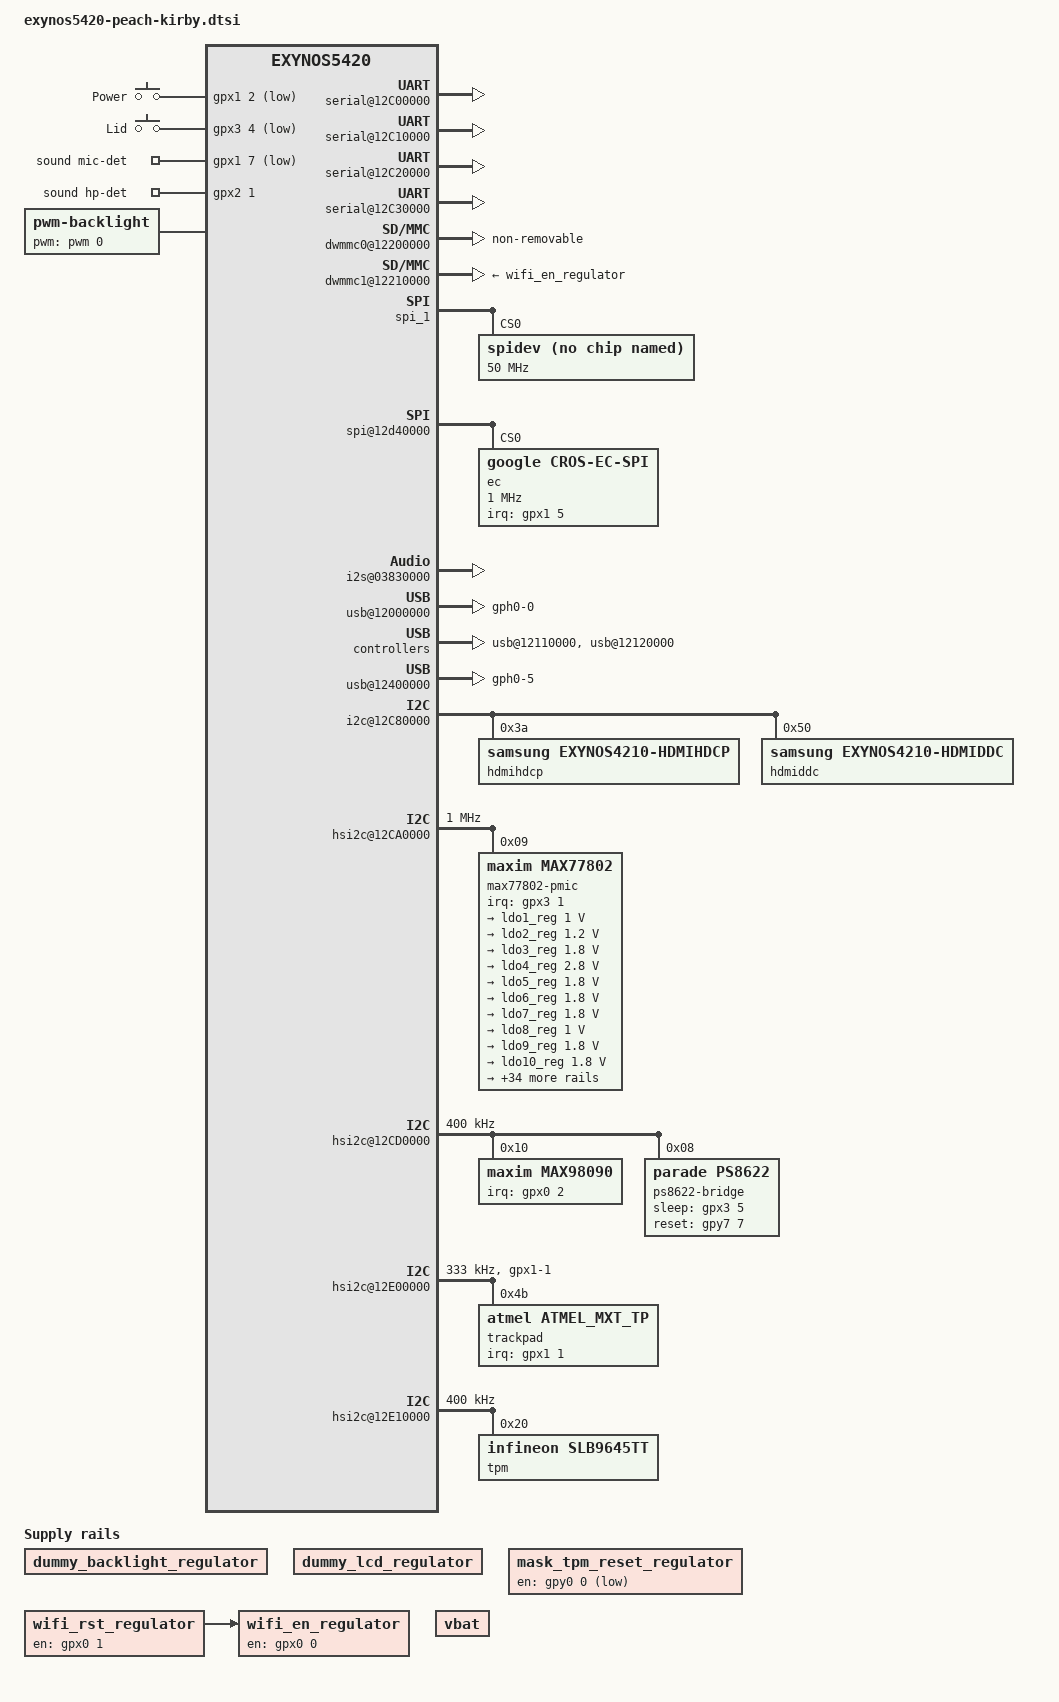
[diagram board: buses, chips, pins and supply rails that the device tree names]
/*
 * Common device tree include for all Peach Pit board revisions
 *
 * Copyright (c) 2013 Google, Inc
 *
 * This program is free software; you can redistribute it and/or modify
 * it under the terms of the GNU General Public License version 2 as
 * published by the Free Software Foundation.
 */

/ {
	aliases {
		i2c20 = &i2c_20;
	};

	chosen {
		bootargs = "";
	};

	firmware {
		chromeos {
			write-protect-gpio = <&gpx3 0 1>;

			pinctrl-names = "default";
			pinctrl-0 = <&wp_gpio>;

			nonvolatile-context-storage = "mkbp";
			chromeos-vbc-ec = <&ec>;
		};
	};

	fixed-rate-clocks {
		xxti {
			compatible = "samsung,clock-xxti";
			clock-frequency = <24000000>;
		};
	};

	pinctrl@13400000 {
		dp_hpd: dp-hpd {
			samsung,pins = "gpx2-6";
			samsung,pin-function = <0>;
			samsung,pin-pud = <3>;
			samsung,pin-drv = <0>;
		};

		ec_irq: ec-irq {
			samsung,pins = "gpx1-5";
			samsung,pin-function = <0>;
			samsung,pin-pud = <0>;
			samsung,pin-drv = <0>;
		};

		hp_det_gpio: hp-det-gpio {
			samsung,pins = "gpx2-1";
			samsung,pin-function = <0>;
			samsung,pin-pud = <0>;
			samsung,pin-drv = <0>;
		};

		hsic_reset: hsic-reset {
			samsung,pins = "gpx2-4";
			samsung,pin-function = <1>;
			samsung,pin-pud = <0>;
			samsung,pin-drv = <0>;
		};

		lid_irq: lid-irq {
			samsung,pins = "gpx3-4";
			samsung,pin-function = <0>;
			samsung,pin-pud = <0>;
			samsung,pin-drv = <0>;
		};

		max77802_irq: max77802-irq {
			samsung,pins = "gpx3-1";
			samsung,pin-function = <0>;
			samsung,pin-pud = <0>;
			samsung,pin-drv = <0>;
		};

		max98090_irq: max98090-irq {
			samsung,pins = "gpx0-2";
			samsung,pin-function = <0>;
			samsung,pin-pud = <0>;
			samsung,pin-drv = <0>;
		};

		mic_det_gpio: mic-det-gpio {
			samsung,pins = "gpx1-7";
			samsung,pin-function = <0>;
			samsung,pin-pud = <0>;
			samsung,pin-drv = <0>;
		};

		power_key_irq: power-key-irq {
			samsung,pins = "gpx1-2";
			samsung,pin-function = <0>;
			samsung,pin-pud = <0>;
			samsung,pin-drv = <0>;
		};

		ps8622_gpios: ps8622-gpios {
			samsung,pins = "gpy7-7", "gpx3-5";
			samsung,pin-function = <1>;
			samsung,pin-pud = <0>;
			samsung,pin-drv = <0>;
		};

		tpm_irq: tpm-irq {
			samsung,pins = "gpx1-0";
			samsung,pin-function = <0>;
			samsung,pin-pud = <0>;
			samsung,pin-drv = <0>;
		};

		bq24192_irq: bq24192-irq {
			samsung,pins = "gpx2-5";
			samsung,pin-function = <0>;
			samsung,pin-pud = <0>;
			samsung,pin-drv = <0>;
		};

		trackpad_irq: trackpad-irq {
			samsung,pins = "gpx1-1";
			samsung,pin-function = <0>;
			samsung,pin-pud = <0>;
			samsung,pin-drv = <0>;
		};

		wifi_en: wifi-en {
			samsung,pins = "gpx0-0";
			samsung,pin-function = <1>;
			samsung,pin-pud = <0>;
			samsung,pin-drv = <0>;
		};

		wifi_rst: wifi-rst {
			samsung,pins = "gpx0-1";
			samsung,pin-function = <1>;
			samsung,pin-pud = <0>;
			samsung,pin-drv = <0>;
		};

		wp_gpio: wp-gpio {
			samsung,pins = "gpx3-0";
			samsung,pin-function = <0>;
			samsung,pin-pud = <0>;
			samsung,pin-drv = <0>;
		};
	};

	pinctrl@13410000 {
		/* Adjust WiFi drive strengths lower for EMI */
		sd1_clk: sd1-clk {
			samsung,pin-drv = <0>;
		};
		sd1_cmd: sd1-cmd {
			samsung,pin-drv = <0>;
		};
		sd1_bus4: sd1-bus-width4 {
			samsung,pin-drv = <0>;
		};
		sd1_bus8: sd1-bus-width8 {
			samsung,pin-drv = <0>;
		};

		mask_tpm_reset: mask-tpm-reset {
			samsung,pins = "gpy0-0";
			samsung,pin-function = <1>;
			samsung,pin-pud = <0>;
			samsung,pin-drv = <0>;
		};
	};

	pinctrl@14010000 {
		ec_spi_cs: ec-spi-cs {
			samsung,pins = "gpb1-2";
			samsung,pin-function = <1>;
			samsung,pin-pud = <0>;
			samsung,pin-drv = <3>;
		};

		spi_flash_cs: spi-flash-cs {
			samsung,pins = "gpa2-5";
			samsung,pin-function = <1>;
			samsung,pin-pud = <0>;
			samsung,pin-drv = <3>;
		};

		usb3_vbus0_en: usb30vbus0-en {
			samsung,pins = "gph0-0";
			samsung,pin-function = <1>;
			samsung,pin-pud = <0>;
			samsung,pin-drv = <0>;
		};

		usb3_vbus1_en: usb30vbus1-en {
			samsung,pins = "gph0-5";
			samsung,pin-function = <1>;
			samsung,pin-pud = <0>;
			samsung,pin-drv = <0>;
		};

		backlight_pwm: backlight-pwm {
			samsung,pins = "gpb2-0";
			samsung,pin-function = <2>;
			samsung,pin-pud = <0>;
			samsung,pin-drv = <0>;
		};
	};

	gpio-keys {
		compatible = "gpio-keys";

		pinctrl-names = "default";
		pinctrl-0 = <&power_key_irq &lid_irq>;

		power {
			label = "Power";
			gpios = <&gpx1 2 1>;
			linux,code = <116>; /* KEY_POWER */
			gpio-key,wakeup;
		};

		lid-switch {
			label = "Lid";
			gpios = <&gpx3 4 1>;
			linux,input-type = <5>; /* EV_SW */
			linux,code = <0>; /* SW_LID */
			debounce-interval = <1>;
			gpio-key,wakeup;
		};
	};

	ramoops {
		compatible = "ramoops";
		reg = <0x41f00000 0x00100000>;
		record-size = <0x00020000>;
		dump-oops;
	};

	watchdog {
		status = "okay";
	};

	rtc {
		status = "okay";
	};

	/* TODO: Should only enable UART3? */
	serial@12C00000 {
		status = "okay";
	};

	serial@12C10000 {
		status = "okay";
	};

	serial@12C20000 {
		status = "okay";
	};

	serial@12C30000 {
		status = "okay";
	};

	codec@11000000 {
		samsung,mfc-r = <0x43000000 0x800000>;
		samsung,mfc-l = <0x51000000 0x800000>;
	};

	dwmmc0@12200000 {
		status = "okay";
		num-slots = <1>;
		broken-cd;
		bypass-smu;
		supports-highspeed;	/* >= 25MHz */
		supports-hs200-mode;	/* 200MHz */
		non-removable;
		fifo-depth = <0x40>;
		card-detect-delay = <200>;
		samsung,dw-mshc-ciu-div = <3>;
		samsung,dw-mshc-sdr-timing = <0 4>;
		samsung,dw-mshc-ddr-timing = <0 2>;
		pinctrl-names = "default";
		pinctrl-0 = <&sd0_clk &sd0_cmd &sd0_bus4 &sd0_bus8>;
		slot@0 {
			reg = <0>;
			bus-width = <8>;
		};
	};

	dwmmc1@12210000 {
		/*
		 * The current best way to ensure that reset/enable and clocks
		 * are available before we try to probe the WiFi card is through
		 * a chain of regulators.
		 */
		vmmc-supply = <&wifi_en_regulator>;

		status = "okay";
		num-slots = <1>;
		supports-highspeed;
		keep-power-in-suspend;
		/* not-removable NOT set so mwifiex driver can use reset trick */
		broken-cd;
		bypass-smu;
		fifo-depth = <0x40>;
		card-detect-delay = <200>;
		clock-frequency = <400000000>;
		samsung,dw-mshc-ciu-div = <3>;
		samsung,dw-mshc-sdr-timing = <4 4>;
		samsung,dw-mshc-ddr-timing = <0 2>;
		pinctrl-names = "default";
		pinctrl-0 = <&sd1_clk &sd1_cmd &sd1_int &sd1_bus4 &sd1_bus8>;
		slot@0 {
			reg = <0>;
			bus-width = <4>;
		};
	};

	spi_1: spi@12d30000 {
		status = "okay";
		samsung,spi-src-clk = <0>;
		num-cs = <1>;

		spidev@0 {
			compatible = "spidev";
			reg = <0>;
			spi-max-frequency = <50000000>;
			pinctrl-names = "default";
			pinctrl-0 = <&spi_flash_cs>;

			controller-data {
				cs-gpio = <&gpa2 5 0>;
				samsung,spi-feedback-delay = <2>;
			};
		};
	};

	/* spi_2 */
	spi@12d40000 {
		status = "okay";
		samsung,spi-src-clk = <0>;
		num-cs = <1>;
		ec: cros-ec@0 {
			compatible = "google,cros-ec-spi";

			/* TODO: Run faster than 1MHz */
			spi-max-frequency = <1000000>;

			pinctrl-names = "default";
			pinctrl-0 = <&ec_spi_cs &ec_irq>;

			reg = <0>;
			interrupts = <5 0>;
			interrupt-parent = <&gpx1>;

			controller-data {
				cs-gpio = <&gpb1 2 0>;

				/* TODO: feedback delay should be 2?*/
				samsung,spi-feedback-delay = <0>;
			};

			/* Arbitrarily assign bus 20 since past exynos range */
			i2c_20: i2c-tunnel {
				compatible = "google,cros-ec-i2c-tunnel";
				#address-cells = <1>;
				#size-cells = <0>;

				google,remote-bus = <0>;

				battery: bq27500@55 {
					compatible = "ti,bq27500";
					reg = <0x55>;
				};
			};

		};
	};

	/* i2s_0 */
	i2s@03830000 {
		status = "okay";
	};

	/* dw usb3_0 */
	usb@12000000 {
		status = "okay";
		samsung,vbus-gpio = <&gph0 0 0>;
		pinctrl-names = "default";
		pinctrl-0 = <&usb3_vbus0_en>;
	};

	/* ehci */
	usb@12110000 {
		status = "okay";
	};

	/* ohci */
	usb@12120000 {
		status = "okay";
	};

	/* dw usb3_1 */
	usb@12400000 {
		status = "okay";
		samsung,vbus-gpio = <&gph0 5 0>;
		pinctrl-names = "default";
		pinctrl-0 = <&usb3_vbus1_en>;
	};

	usb3_phy0: usbphy@12100000 {
		samsung,txpreempamptune = <0x1>;
	};

	usb3_phy1: usbphy@12500000 {
		samsung,txpreempamptune = <0x1>;
	};

	/* i2c2 */
	i2c@12C80000 {
		status = "okay";
		samsung,i2c-sda-delay = <100>;
		samsung,i2c-max-bus-freq = <66000>;

		hdmihdcp@3a {
			compatible = "samsung,exynos4210-hdmihdcp";
			reg = <0x3a>;
		};

		hdmiddc@50 {
			compatible = "samsung,exynos4210-hdmiddc";
			reg = <0x50>;
		};
	};

	/* hsi2c4 */
	hsi2c@12CA0000 {
		status = "okay";
		samsung,hs-mode;
		clock-frequency = <1000000>;

		max77802-pmic@9 {
			compatible = "maxim,max77802";
			interrupt-parent = <&gpx3>;
			interrupts = <1 0>;
			pinctrl-names = "default";
			pinctrl-0 = <&max77802_irq>;
			wakeup-source;
			reg = <0x9>;

			voltage-regulators {
				ldo1_reg: LDO1 {
					regulator-name = "vdd_1v0";
					regulator-min-microvolt = <1000000>;
					regulator-max-microvolt = <1000000>;
					regulator-always-on;
					regulator-op-mode = <2>;
				};
				ldo2_reg: LDO2 {
					regulator-name = "vdd_1v2";
					regulator-min-microvolt = <1200000>;
					regulator-max-microvolt = <1200000>;
				};
				ldo3_reg: LDO3 {
					regulator-name = "vdd_1v8_3";
					regulator-min-microvolt = <1800000>;
					regulator-max-microvolt = <1800000>;
					regulator-always-on;
					regulator-op-mode = <2>;
				};
				ldo4_reg: LDO4 {
					regulator-name = "ldo_04";
					regulator-min-microvolt = <2800000>;
					regulator-max-microvolt = <2800000>;
					regulator-op-mode = <0>;
				};
				ldo5_reg: LDO5 {
					regulator-name = "vdd_1v8_5";
					regulator-min-microvolt = <1800000>;
					regulator-max-microvolt = <1800000>;
					regulator-always-on;
					regulator-op-mode = <1>;
				};
				ldo6_reg: LDO6 {
					regulator-name = "vdd_1v8_6";
					regulator-min-microvolt = <1800000>;
					regulator-max-microvolt = <1800000>;
					regulator-always-on;
					regulator-op-mode = <1>;
				};
				ldo7_reg: LDO7 {
					regulator-name = "vdd_1v8_7";
					regulator-min-microvolt = <1800000>;
					regulator-max-microvolt = <1800000>;
				};
				ldo8_reg: LDO8 {
					regulator-name = "vdd_ldo8";
					regulator-min-microvolt = <1000000>;
					regulator-max-microvolt = <1000000>;
					regulator-always-on;
					regulator-op-mode = <1>;
				};
				ldo9_reg: LDO9 {
					regulator-name = "vdd_ldo9";
					regulator-min-microvolt = <1800000>;
					regulator-max-microvolt = <1800000>;
					regulator-always-on;
					regulator-op-mode = <2>;
				};
				ldo10_reg: LDO10 {
					regulator-name = "vdd_ldo10";
					regulator-min-microvolt = <1800000>;
					regulator-max-microvolt = <1800000>;
					regulator-always-on;
					regulator-op-mode = <1>;
				};
				ldo11_reg: LDO11 {
					regulator-name = "vdd_ldo11";
					regulator-min-microvolt = <1800000>;
					regulator-max-microvolt = <1800000>;
					regulator-always-on;
					regulator-op-mode = <2>;
				};
				ldo12_reg: LDO12 {
					regulator-name = "vdd_ldo12";
					regulator-min-microvolt = <3000000>;
					regulator-max-microvolt = <3000000>;
					regulator-always-on;
					regulator-op-mode = <1>;
				};
				ldo13_reg: LDO13 {
					regulator-name = "vdd_ldo13";
					regulator-min-microvolt = <1800000>;
					regulator-max-microvolt = <1800000>;
					regulator-always-on;
					regulator-op-mode = <2>;
				};
				ldo14_reg: LDO14 {
					regulator-name = "vdd_ldo14";
					regulator-min-microvolt = <1800000>;
					regulator-max-microvolt = <1800000>;
					regulator-always-on;
					regulator-op-mode = <1>;
				};
				ldo15_reg: LDO15 {
					regulator-name = "vdd_ldo15";
					regulator-min-microvolt = <1000000>;
					regulator-max-microvolt = <1000000>;
					regulator-always-on;
					regulator-op-mode = <1>;
				};
				ldo17_reg: LDO17 {
					regulator-name = "vdd_g3ds";
					regulator-min-microvolt = <900000>;
					regulator-max-microvolt = <1050000>;
					regulator-always-on;
					regulator-op-mode = <1>;
				};
				ldo18_reg: LDO18 {
					regulator-name = "ldo_18";
					regulator-min-microvolt = <1800000>;
					regulator-max-microvolt = <1800000>;
				};
				ldo19_reg: LDO19 {
					regulator-name = "ldo_19";
					regulator-min-microvolt = <1800000>;
					regulator-max-microvolt = <1800000>;
				};
				ldo20_reg: LDO20 {
					regulator-name = "ldo_20";
					regulator-min-microvolt = <1800000>;
					regulator-max-microvolt = <1800000>;
					regulator-always-on;
					regulator-op-mode = <0>;
				};
				ldo21_reg: LDO21 {
					regulator-name = "ldo_21";
					regulator-min-microvolt = <2800000>;
					regulator-max-microvolt = <2800000>;
				};
				ldo23_reg: LDO23 {
					regulator-name = "ld0_23";
					regulator-min-microvolt = <3300000>;
					regulator-max-microvolt = <3300000>;
				};
				ldo24_reg: LDO24 {
					regulator-name = "ldo_24";
					regulator-min-microvolt = <2800000>;
					regulator-max-microvolt = <2800000>;
				};
				ldo25_reg: LDO25 {
					regulator-name = "ldo_25";
					regulator-min-microvolt = <3300000>;
					regulator-max-microvolt = <3300000>;
				};
				ldo26_reg: LDO26 {
					regulator-name = "ldo_26";
					regulator-min-microvolt = <1200000>;
					regulator-max-microvolt = <1200000>;
				};
				ldo27_reg: LDO27 {
					regulator-name = "avdd";
					regulator-min-microvolt = <1000000>;
					regulator-max-microvolt = <1000000>;
					regulator-op-mode = <2>;
				};
				ldo28_reg: LDO28 {
					regulator-name = "ldo_28";
					regulator-min-microvolt = <1800000>;
					regulator-max-microvolt = <1800000>;
				};
				ldo29_reg: LDO29 {
					regulator-name = "ldo_29";
					regulator-min-microvolt = <1800000>;
					regulator-max-microvolt = <1800000>;
				};
				ldo30_reg: LDO30 {
					regulator-name = "vdd_mifs";
					regulator-min-microvolt = <900000>;
					regulator-max-microvolt = <1050000>;
					regulator-always-on;
				};
				ldo32_reg: LDO32 {
					regulator-name = "ldo_32";
					regulator-min-microvolt = <3000000>;
					regulator-max-microvolt = <3000000>;
				};
				ldo33_reg: LDO33 {
					regulator-name = "ldo_33";
					regulator-min-microvolt = <2800000>;
					regulator-max-microvolt = <2800000>;
				};
				ldo34_reg: LDO34 {
					regulator-name = "ldo_34";
					regulator-min-microvolt = <3000000>;
					regulator-max-microvolt = <3000000>;
				};
				ldo35_reg: LDO35 {
					regulator-name = "ldo_35";
					regulator-min-microvolt = <1200000>;
					regulator-max-microvolt = <1200000>;
				};
				buck1_reg: BUCK1 {
					regulator-name = "vdd_mif";
					regulator-min-microvolt = <900000>;
					regulator-max-microvolt = <1300000>;
					regulator-always-on;
					regulator-boot-on;
					regulator-op-mode = <1>;
					regulator-ramp-delay = <12500>;
				};
				buck2_reg: BUCK2 {
					regulator-name = "vdd_arm";
					regulator-min-microvolt = <800000>;
					regulator-max-microvolt = <1500000>;
					regulator-always-on;
					regulator-boot-on;
					regulator-op-mode = <1>;
					regulator-ramp-delay = <12500>;
				};
				buck3_reg: BUCK3 {
					regulator-name = "vdd_int";
					regulator-min-microvolt = <800000>;
					regulator-max-microvolt = <1400000>;
					regulator-always-on;
					regulator-boot-on;
					regulator-op-mode = <1>;
					regulator-ramp-delay = <12500>;
				};
				buck4_reg: BUCK4 {
					regulator-name = "vdd_g3d";
					regulator-min-microvolt = <800000>;
					regulator-max-microvolt = <1400000>;
					/*
					 * TODO(sjg@chromium.org): Maybe remove
					 * this once things are hooked up.
					 */
					regulator-always-on;
					regulator-boot-on;
					regulator-op-mode = <1>;
					regulator-ramp-delay = <12500>;
				};
				buck5_reg: BUCK5 {
					regulator-name = "vdd_1v2";
					regulator-min-microvolt = <1200000>;
					regulator-max-microvolt = <1200000>;
					regulator-always-on;
					regulator-boot-on;
					regulator-op-mode = <3>;
				};
				buck6_reg: BUCK6 {
					regulator-name = "vdd_kfc";
					regulator-min-microvolt = <800000>;
					regulator-max-microvolt = <1500000>;
					/*
					 * TODO(sjg@chromium.org): Can this
					 * be powered off?
					 */
					regulator-always-on;
					regulator-boot-on;
					regulator-op-mode = <1>;
					regulator-ramp-delay = <12500>;
				};
				buck7_reg: BUCK7 {
					regulator-name = "vdd_1v35";
					regulator-min-microvolt = <1350000>;
					regulator-max-microvolt = <1350000>;
					regulator-always-on;
					regulator-boot-on;
					regulator-op-mode = <3>;
				};
				buck8_reg: BUCK8 {
					regulator-name = "vdd_emmc";
					regulator-min-microvolt = <2850000>;
					regulator-max-microvolt = <2850000>;
					regulator-always-on;
					regulator-boot-on;
					regulator-op-mode = <1>;
				};
				buck9_reg: BUCK9 {
					regulator-name = "vdd_2v";
					regulator-min-microvolt = <2000000>;
					regulator-max-microvolt = <2000000>;
					regulator-always-on;
					regulator-boot-on;
					regulator-op-mode = <3>;
				};
				buck10_reg: BUCK10 {
					regulator-name = "vdd_1v8";
					regulator-min-microvolt = <1800000>;
					regulator-max-microvolt = <1800000>;
					regulator-always-on;
					regulator-boot-on;
					regulator-op-mode = <3>;
				};
				en32khz_ap: EN32KHZ_AP {
					regulator-name = "en32khz_ap";
					regulator-always-on;
				};
				en32khz_cp: EN32KHZ_CP {
					regulator-name = "en32khz_cp";
					regulator-always-on;
				};
			};

			maxim_rtc: rtc {
			};
		};
	};

	dummy_backlight_regulator: dummy_backlight_regulator@0 {
		compatible = "regulator-fixed";
		regulator-name = "vcd_led";
		regulator-always-on;
	};
	dummy_lcd_regulator: dummy_lcd_regulator@0 {
		compatible = "regulator-fixed";
		regulator-name = "lcd_vdd";
		regulator-always-on;
	};

	/* hsi2c7 */
	hsi2c@12CD0000 {
		status = "okay";
		clock-frequency = <400000>;

		max98090: codec@10 {
			compatible = "maxim,max98090";
			reg = <0x10>;
			interrupts = <2 0>;
			interrupt-parent = <&gpx0>;
			pinctrl-names = "default";
			pinctrl-0 = <&max98090_irq>;
		};

		ps8622-bridge@20 {
			compatible = "parade,ps8622";
			reg = <0x08>;
			sleep-gpio = <&gpx3 5 0>;
			reset-gpio = <&gpy7 7 0>;
			lane-count = <1>;
			pinctrl-names = "default";
			pinctrl-0 = <&ps8622_gpios>;
			use-external-pwm;

			/*
			 * The following table maps the timings set forth in the
			 * LCD's datasheet to the timings specified in the
			 * PS8622 datasheet.
			 * ----------+---------------------------+--------------
			 * LCD TIME  | TRANSITION                | PS8622 EQUIV
			 * ----------+---------------------------+--------------
			 * t2 <= 50  | LCD_VCC -> VIDEO_SIGNAL	 | T3+4+5+6+7+8
			 * 200 <= t5 | VIDEO_SIGNAL -> LED_EN	 | T9 + T10
			 * 0 <= t9   | LCD_BL_PWM -> LED_EN	 | T10
			 * 10 <= t8  | VLED -> LCD_BL_PWM	 | --
			 * 200 <= t6 | !LED_EN -> !VIDEO_SIGNAL  | T11 + T12
			 * t3 <= 50  | !VIDEO_SIGNAL -> !LCD_VCC | T13
			 * 400 <= t4 | !LCD_VCC -> LCD_VCC	 | T15
			 * 0 <= t10  | !LED_EN -> !LCD_BL_PWM    | T11
			 * 10 <= t11 | !LCD_BL_PWM -> !VLED      | --
			 * ----------+---------------------------+--------------
			 */
			power-seq-timing = <10 200 10 5 200 10 600>;
		};
	};

	/* hsi2c8 */
	hsi2c@12E00000 {
		status = "okay";
		clock-frequency = <333000>;

		/*
		 * TODO: for now config the IRQ at the i2c level since
		 * pinctrl can't handle sharing it between two children, even
		 * if one fails to probe.
		 * See crosbug.com/p/20329
		 */
		pinctrl-names = "default";
		pinctrl-0 = <&i2c8_hs_bus &trackpad_irq>;

		/* Only one of the following trackpads should be probed */
		trackpad@4b {
			reg = <0x4b>;
			compatible = "atmel,atmel_mxt_tp";
			interrupts = <1 0>;
			interrupt-parent = <&gpx1>;
			wakeup-source;
		};
	};

	/* hsi2c9 */
	hsi2c@12E10000 {
		status = "okay";
		clock-frequency = <400000>;

		tpm@20 {
			/* Unused irq; but still need to configure the pins */
			pinctrl-names = "default";
			pinctrl-0 = <&tpm_irq>;

			compatible = "infineon,slb9645tt";
			reg = <0x20>;
		};
	};

	sound {
		compatible = "google,daisy-audio-max98090";
		samsung,i2s-controller = <&i2s_0>;
		samsung,audio-codec = <&max98090>;
		samsung,mic-det-gpios = <&gpx1 7 1>;
		samsung,hp-det-gpios = <&gpx2 1 0>;
		clocks = <&clock 3>, <&clock 4>, <&clock 1025>,
			<&clock 148>, <&clock_audss EXYNOS_MOUT_AUDSS>,
			<&clock_audss EXYNOS_MOUT_I2S>;
		clock-names = "fout_epll", "sclk_epll", "mout_audio0",
			"sclk_audio0", "mout_audss", "mout_i2s";
		pinctrl-names = "default";
		pinctrl-0 = <&mic_det_gpio &hp_det_gpio>;
	};

	/* We need GPY0_0 to be low at sleep time; just keep it low always */
	mask_tpm_reset_regulator: mask-tpm-reset-regulator {
		compatible = "regulator-fixed";
		regulator-name = "mask-tpm-reset";
		gpio = <&gpy0 0 0>;
		enable-active-low;
		regulator-boot-on;
		regulator-always-on;
		pinctrl-names = "default";
		pinctrl-0 = <&mask_tpm_reset>;
	};

	fimd {
		samsung,fimd-vidout-rgb;
		samsung,fimd-inv-vclk;
		samsung,default-window = <0>;
		samsung,cursor-window = <4>;
		samsung,fimd-win-bpp = <32>;
		samsung,fimd-src-clk-rate = <70500000>;
		samsung,use-fimd-dithering;
		samsung-rgb-dithpos = <6 6 6>;
	};

	lcd_dp0: lcd_panel0 {
		lcd-htiming = <40 40 32 1366>;
		lcd-vtiming = <10 12 6 768>;
		lcd-dimensions = <256 144>;
	};

	display-port-controller {
		samsung,dp-display = <&lcd_dp0>;
		samsung,dp-frame-rate = <60>;
		samsung,color-space = <0>;
		samsung,dynamic-range = <0>;
		samsung,ycbcr-coeff = <0>;
		samsung,color-depth = <1>;
		samsung,link-rate = <0x0a>;
		samsung,lane-count = <1>;
		samsung,hpd-gpio = <&gpx2 6 0>;
		pinctrl-names = "default";
		pinctrl-0 = <&dp_hpd>;
	};

	hdmi {
		hpd-gpio = <&gpx2 1 0>;
		pinctrl-names = "default";
		pinctrl-0 = <&hdmi_hpd_irq>;

		hdmi-en-supply = <&ldo27_reg>;
		vdd-supply = <&ldo8_reg>;
		vdd_osc-supply = <&ldo10_reg>;
		vdd_pll-supply = <&ldo8_reg>;
	};

	/* Chain regulators to ensure proper Wifi turn on sequence */
	wifi_rst_regulator: wifi-rst-regulator {
		compatible = "regulator-fixed";
		regulator-name = "wifi-rst-l";
		gpio = <&gpx0 1 0>;
		enable-active-high;
		startup-delay-us = <1500>;
		pinctrl-names = "default";
		pinctrl-0 = <&wifi_rst>;

		/*
		 * Technically we should have a vin-supply of the 32k clock.
		 * ...but that causes a deferred probe of this regulator
		 * despite the fact that we don't need to enable it until
		 * much later.  Skip the dependency since we know that the
		 * 32k clock will always be kept on from early boot.
		 *
		 * vin-supply = <&en32khz_cp>;
		 */
	};

	wifi_en_regulator: wifi-en-regulator {
		compatible = "regulator-fixed";
		regulator-name = "wifi-en";
		gpio = <&gpx0 0 0>;
		enable-active-high;
		pinctrl-names = "default";
		pinctrl-0 = <&wifi_en>;
		vin-supply = <&wifi_rst_regulator>;
	};

	vbat: fixed-regulator {
		compatible = "regulator-fixed";
		regulator-name = "vbat-supply";
		regulator-boot-on;
		regulator-always-on;
	};

	backlight {
		compatible = "pwm-backlight";
		pwms = <&pwm 0 1000000 0>;
		max-brightness = <2800>;
		default-brightness-level = <2800>;
		pinctrl-0 = <&backlight_pwm>;
		pinctrl-names = "default";
	};

	pinctrl@13400000 {
		gpy7: gpy7 {
			powerdown-settings = <3 3 3 3 3 3 6 2>;
		};
	};
	pinctrl@13410000 {
		gpc0: gpc0 {
			powerdown-settings = <6 3 5 3 3 3 3 3>;
		};
		gpc1: gpc1 {
			powerdown-settings = <6 2 3 2 2 2 2 3>;
		};
		gpc2: gpc2 {
			powerdown-settings = <6 2 2 2 2 2 2>;
		};
		gpc3: gpc3 {
			powerdown-settings = <3 3 3 3>;
		};
		gpc4: gpc4 {
			powerdown-settings = <2 3>;
		};
		gpd1: gpd1 {
			powerdown-settings = <2 6 6 6 2 2 2 2>;
		};
		gpy0: gpy0 {
			powerdown-settings = <3 2 2 2 2 2>;
		};
		gpy1: gpy1 {
			powerdown-settings = <2 2 2 2>;
		};
		gpy2: gpy2 {
			powerdown-settings = <2 2 2 2 2 2>;
		};
		gpy3: gpy3 {
			powerdown-settings = <3 3 3 3 3 3 3 3>;
		};
		gpy4: gpy4 {
			powerdown-settings = <3 3 3 3 3 3 3 3>;
		};
		gpy5: gpy5 {
			powerdown-settings = <3 3 3 3 3 3 3 3>;
		};
		gpy6: gpy6 {
			powerdown-settings = <3 3 3 3 3 3 3 3>;
		};
	};
	pinctrl@14000000 {
		gpe0: gpe0 {
			powerdown-settings = <3 3 3 3 3 3 3 3>;
		};
		gpe1: gpe1 {
			powerdown-settings = <3 3>;
		};
		gpf0: gpf0 {
			powerdown-settings = <3 3 3 3 3 3>;
		};
		gpf1: gpf1 {
			powerdown-settings = <3 3 3 3 3 3 3 3>;
		};
		gpg0: gpg0 {
			powerdown-settings = <3 3 3 3 3 3 3 3>;
		};
		gpg1: gpg1 {
			powerdown-settings = <3 3 3 3 3 3 3 3>;
		};
		gpg2: gpg2 {
			powerdown-settings = <3 1>;
		};
		gpj4: gpj4 {
			powerdown-settings = <3 3 6 6>;
		};
	};
	pinctrl@14010000 {
		gpa0: gpa0 {
			powerdown-settings = <3 3 3 3 3 3 2 2>;
		};
		gpa1: gpa1 {
			powerdown-settings = <3 3 3 3 3 3>;
		};
		gpa2: gpa2 {
			powerdown-settings = <2 2 3 3 6 6 1 6>;
		};
		gpb0: gpb0 {
			powerdown-settings = <3 3 3 3 3>;
		};
		gpb1: gpb1 {
			powerdown-settings = <3 6 6 1 6>;
		};
		gpb2: gpb2 {
			powerdown-settings = <3 3 2 2>;
		};
		gpb3: gpb3 {
			powerdown-settings = <3 3 3 3 2 2 2 2>;
		};
		gpb4: gpb4 {
			powerdown-settings = <2 2>;
		};
		gph0: gph0 {
			powerdown-settings = <6 6 6 6 6 6 6 5>;
		};
	};
	pinctrl@03860000 {
		gpz: gpz {
			powerdown-settings = <6 3 6 3 1 3 3>;
		};
	};
};
